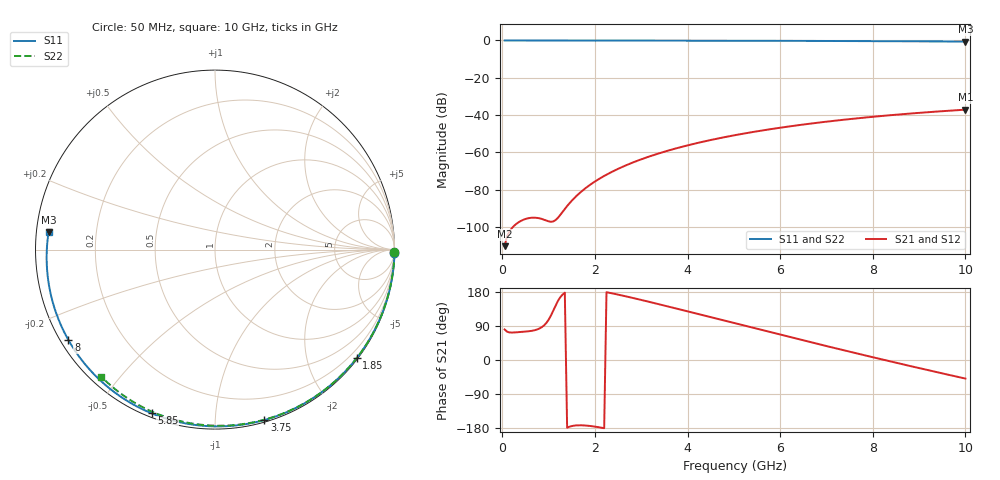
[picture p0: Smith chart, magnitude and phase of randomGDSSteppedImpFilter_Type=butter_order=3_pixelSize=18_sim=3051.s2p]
! freq	dB(S11)	phase(S11)	dB(S12)	phase(S12)
!  dB(S21)	phase(S21)	dB(S22)	phase(S22)
!S-par simulation data
#  GHz  S  DB  R 50
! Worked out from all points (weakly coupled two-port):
!   200 points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, 50 MHz to 10 GHz, reference 50 ohm
!   highest |S21| = -37.09 dB at 10 GHz (marker M1); lowest = -110.2 dB at 50 MHz (marker M2)
!   lowest |S11| = -0.6 dB at 10 GHz (marker M3), VSWR 28.58, Z = 1.75 + j2.58 ohm
!   |S11| at or under -10 dB: nowhere
!   |S22| runs from -0.4 to 0.0 dB; largest |S21 - S12| = 0
!   S11 on the Smith chart (normalised r, x): 50 MHz: open; 1.85 GHz: 0.03, -2.95; 3.75 GHz: 0.02, -1.33; 5.85 GHz: 0.02, -0.68; 8 GHz: 0.02, -0.28; 10 GHz: 0.04, +0.05
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0.05  -0.00 -1.0  -110.21 80.6  -110.21 80.6  -0.00 -0.8
0.45  -0.01 -9.3  -96.11 74.4  -96.11 74.4  -0.01 -6.8
0.85  -0.02 -17.5  -95.60 86.4  -95.60 86.4  -0.02 -12.9
1.3  -0.03 -26.5  -91.89 172.5  -91.89 172.5  -0.02 -19.6
1.75  -0.04 -35.5  -80.06 -172.5  -80.06 -172.5  -0.03 -26.3
1.85  -0.05 -37.5  -78.15 -173.5  -78.15 -173.5  -0.04 -27.7
2.15  -0.05 -43.4  -73.29 -178.8  -73.29 -178.8  -0.04 -32.1
2.5  -0.06 -50.2  -68.79 172.6  -68.79 172.6  -0.05 -37.2
2.9  -0.07 -57.9  -64.61 161.5  -64.61 161.5  -0.06 -42.9
3.4  -0.09 -67.3  -60.35 146.7  -60.35 146.7  -0.07 -50.0
3.75  -0.10 -73.8  -57.83 136.0  -57.83 136.0  -0.07 -54.9
4.4  -0.12 -85.7  -53.88 116.0  -53.88 116.0  -0.09 -63.7
5.05  -0.15 -97.2  -50.62 96.0  -50.62 96.0  -0.11 -72.4
5.85  -0.19 -111.2  -47.31 71.5  -47.31 71.5  -0.14 -82.7
6.7  -0.25 -125.8  -44.41 45.8  -44.41 45.8  -0.18 -93.3
7.35  -0.30 -137.0  -42.53 26.4  -42.53 26.4  -0.22 -101.1
8  -0.36 -148.3  -40.90 7.3  -40.90 7.3  -0.26 -108.8
8.35  -0.40 -154.5  -40.11 -2.8  -40.11 -2.8  -0.29 -112.9
8.8  -0.45 -162.7  -39.17 -15.7  -39.17 -15.7  -0.33 -118.1
9.2  -0.50 -170.2  -38.42 -26.9  -38.42 -26.9  -0.36 -122.7
9.6  -0.55 -177.9  -37.72 -38.1  -37.72 -38.1  -0.40 -127.2
10  -0.61 174.1  -37.09 -49.0  -37.09 -49.0  -0.45 -131.8
